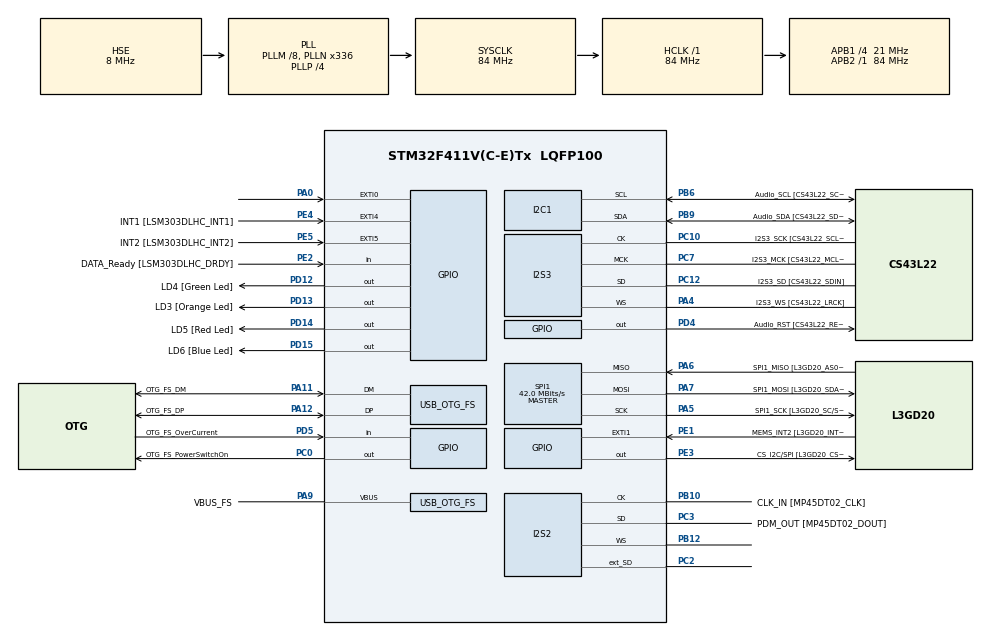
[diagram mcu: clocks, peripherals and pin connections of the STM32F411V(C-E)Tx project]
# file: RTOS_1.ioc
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I2S2.AudioFreq=I2S_AUDIOFREQ_96K
I2S2.ErrorAudioFreq=0.15 %
I2S2.FullDuplexMode=I2S_FULLDUPLEXMODE_ENABLE
I2S2.Instance=SPI$Index
I2S2.RealAudioFreq=96.153 KHz
I2S2.VirtualMode=I2S_MODE_MASTER
I2S3.AudioFreq=I2S_AUDIOFREQ_96K
I2S3.ErrorAudioFreq=-6.99 %
I2S3.FullDuplexMode=I2S_FULLDUPLEXMODE_DISABLE
I2S3.Instance=SPI$Index
I2S3.RealAudioFreq=89.285 KHz
I2S3.VirtualMode=I2S_MODE_MASTER
Mcu.Family=STM32F4
Mcu.Name=STM32F411V(C-E)Tx
Mcu.Package=LQFP100
NVIC.OTG_FS_IRQn=true\:0\:0\:false\:false\:true\:true\:true\:true
NVIC.PriorityGroup=NVIC_PRIORITYGROUP_4
NVIC.TIM1_BRK_TIM9_IRQn=true\:0\:0\:false\:false\:true\:false\:true\:true
NVIC.TimeBase=TIM1_BRK_TIM9_IRQn
NVIC.TimeBaseIP=TIM9
PA0-WKUP.GPIO_ModeDefaultEXTI=GPIO_MODE_EVT_RISING
PA0-WKUP.Signal=GPXTI0
PA10.GPIO_Label=OTG_FS_ID
PA10.Signal=USB_OTG_FS_ID
PA11.GPIO_Label=OTG_FS_DM
PA11.Mode=Host_Only
PA11.Signal=USB_OTG_FS_DM
PA12.GPIO_Label=OTG_FS_DP
PA12.Mode=Host_Only
PA12.Signal=USB_OTG_FS_DP
PA13.GPIO_Label=SWDIO
PA13.Mode=Serial_Wire
PA13.Signal=SYS_JTMS-SWDIO
PA14.GPIO_Label=SWCLK
PA14.Mode=Serial_Wire
PA14.Signal=SYS_JTCK-SWCLK
PA4.GPIO_Label=I2S3_WS [CS43L22_LRCK]
PA4.GPIO_Mode=GPIO_MODE_AF_PP
PA4.GPIO_PuPd=GPIO_NOPULL
PA4.GPIO_Speed=GPIO_SPEED_FREQ_LOW
PA4.Mode=Half_Duplex_Master
PA4.Signal=I2S3_WS
PA5.GPIO_Label=SPI1_SCK [L3GD20_SC/SPC]
PA5.Mode=Full_Duplex_Master
PA5.Signal=SPI1_SCK
PA6.GPIO_Label=SPI1_MISO [L3GD20_AS0/SDO]
PA6.Mode=Full_Duplex_Master
PA6.Signal=SPI1_MISO
PA7.GPIO_Label=SPI1_MOSI [L3GD20_SDA/SDI/SDO]
PA7.Mode=Full_Duplex_Master
PA7.Signal=SPI1_MOSI
PA9.GPIO_Label=VBUS_FS
PA9.Mode=Activate_VBUS
PA9.Signal=USB_OTG_FS_VBUS
PB10.GPIO_Label=CLK_IN [MP45DT02_CLK]
PB10.Mode=Full_Duplex_Master
PB10.Signal=I2S2_CK
PB12.Mode=Full_Duplex_Master
PB12.Signal=I2S2_WS
PB3.GPIO_Label=SWO
PB3.Signal=SYS_JTDO-SWO
PB6.GPIO_Label=Audio_SCL [CS43L22_SCL]
PB6.GPIO_Mode=GPIO_MODE_AF_OD
PB6.GPIO_Pu=GPIO_PULLUP
PB6.GPIO_PuPd=GPIO_NOPULL
PB6.GPIO_Speed=GPIO_SPEED_FREQ_LOW
PB6.Mode=I2C
PB6.Signal=I2C1_SCL
PB9.GPIO_Label=Audio_SDA [CS43L22_SDA]
PB9.GPIO_Mode=GPIO_MODE_AF_OD
PB9.GPIO_Pu=GPIO_PULLUP
PB9.GPIO_PuPd=GPIO_NOPULL
PB9.GPIO_Speed=GPIO_SPEED_FREQ_LOW
PB9.Mode=I2C
PB9.Signal=I2C1_SDA
PC0.GPIO_Label=OTG_FS_PowerSwitchOn
PC0.PinState=GPIO_PIN_SET
PC0.Signal=GPIO_Output
PC10.GPIO_Label=I2S3_SCK [CS43L22_SCLK]
PC10.GPIO_Mode=GPIO_MODE_AF_PP
PC10.GPIO_PuPd=GPIO_NOPULL
PC10.GPIO_Speed=GPIO_SPEED_FREQ_LOW
PC10.Mode=Half_Duplex_Master
PC10.Signal=I2S3_CK
PC12.GPIO_Label=I2S3_SD [CS43L22_SDIN]
PC12.GPIO_Mode=GPIO_MODE_AF_PP
PC12.GPIO_PuPd=GPIO_NOPULL
PC12.GPIO_Speed=GPIO_SPEED_FREQ_LOW
PC12.Mode=Half_Duplex_Master
PC12.Signal=I2S3_SD
PC14-OSC32_IN.GPIO_Label=PC14-OSC32_IN
PC14-OSC32_IN.Mode=LSE-External-Oscillator
PC14-OSC32_IN.Signal=RCC_OSC32_IN
PC15-OSC32_OUT.GPIO_Label=PC15-OSC32_OUT
PC15-OSC32_OUT.Mode=LSE-External-Oscillator
PC15-OSC32_OUT.Signal=RCC_OSC32_OUT
PC2.Mode=Full_Duplex_Master
PC2.Signal=I2S2_ext_SD
PC3.GPIO_Label=PDM_OUT [MP45DT02_DOUT]
PC3.Mode=Full_Duplex_Master
PC3.Signal=I2S2_SD
PC7.GPIO_Label=I2S3_MCK [CS43L22_MCLK]
PC7.GPIO_Mode=GPIO_MODE_AF_PP
PC7.GPIO_PuPd=GPIO_NOPULL
PC7.GPIO_Speed=GPIO_SPEED_FREQ_LOW
PC7.Mode=Master_Clock_Activated
PC7.Signal=I2S3_MCK
PD12.GPIO_Label=LD4 [Green Led]
PD12.GPIO_PuPd=GPIO_NOPULL
PD12.GPIO_Speed=GPIO_SPEED_FREQ_LOW
PD12.Signal=GPIO_Output
PD13.GPIO_Label=LD3 [Orange Led]
PD13.GPIO_PuPd=GPIO_NOPULL
PD13.GPIO_Speed=GPIO_SPEED_FREQ_LOW
PD13.Signal=GPIO_Output
PD14.GPIO_Label=LD5 [Red Led]
PD14.GPIO_PuPd=GPIO_NOPULL
PD14.GPIO_Speed=GPIO_SPEED_FREQ_LOW
PD14.Signal=GPIO_Output
PD15.GPIO_Label=LD6 [Blue Led]
PD15.GPIO_PuPd=GPIO_NOPULL
PD15.GPIO_Speed=GPIO_SPEED_FREQ_LOW
PD15.Signal=GPIO_Output
PD4.GPIO_Label=Audio_RST [CS43L22_RESET]
PD4.Signal=GPIO_Output
PD5.GPIO_Label=OTG_FS_OverCurrent
PD5.Signal=GPIO_Input
PE1.GPIO_Label=MEMS_INT2 [L3GD20_INT2]
PE1.GPIO_ModeDefaultEXTI=GPIO_MODE_EVT_RISING
PE1.Signal=GPXTI1
PE2.GPIO_Label=DATA_Ready [LSM303DLHC_DRDY]
PE2.Signal=GPIO_Input
PE3.GPIO_Label=CS_I2C/SPI [L3GD20_CS_I2C/SPI]
PE3.Signal=GPIO_Output
PE4.GPIO_Label=INT1 [LSM303DLHC_INT1]
PE4.GPIO_ModeDefaultEXTI=GPIO_MODE_EVT_RISING
PE4.Signal=GPXTI4
PE5.GPIO_Label=INT2 [LSM303DLHC_INT2]
PE5.GPIO_ModeDefaultEXTI=GPIO_MODE_EVT_RISING
PE5.Signal=GPXTI5
PH0\ -\ OSC_IN.GPIO_Label=PH0-OSC_IN
PH0\ -\ OSC_IN.Mode=HSE-External-Oscillator
PH0\ -\ OSC_IN.Signal=RCC_OSC_IN
PH1\ -\ OSC_OUT.GPIO_Label=PH1-OSC_OUT
PH1\ -\ OSC_OUT.Mode=HSE-External-Oscillator
PH1\ -\ OSC_OUT.Signal=RCC_OSC_OUT
ProjectManager.HeapSize=0x200
ProjectManager.StackSize=0x400
ProjectManager.TargetToolchain=STM32CubeIDE
RCC.48MHZClocksFreq_Value=48000000
RCC.AHBFreq_Value=84000000
RCC.APB1CLKDivider=RCC_HCLK_DIV4
RCC.APB1Freq_Value=21000000
RCC.APB1TimFreq_Value=42000000
RCC.APB2Freq_Value=84000000
RCC.APB2TimFreq_Value=84000000
RCC.CortexFreq_Value=84000000
RCC.HCLKFreq_Value=84000000
RCC.HSE_VALUE=8000000
RCC.HSI_VALUE=16000000
RCC.PLLI2SM=5
RCC.PLLI2SN=200
RCC.PLLM=8
RCC.PLLN=336
RCC.PLLP=RCC_PLLP_DIV4
RCC.PLLQ=7
RCC.SYSCLKFreq_VALUE=84000000
RCC.SYSCLKSource=RCC_SYSCLKSOURCE_PLLCLK
RCC.VCOOutputFreq_Value=336000000
SPI1.BaudRatePrescaler=SPI_BAUDRATEPRESCALER_2
SPI1.CalculateBaudRate=42.0 MBits/s
SPI1.Direction=SPI_DIRECTION_2LINES
SPI1.Mode=SPI_MODE_MASTER
SPI1.VirtualType=VM_MASTER
USB_HOST.BSP.number=1
USB_HOST.USBH_HandleTypeDef=hUsbHostFS
USB_HOST.VirtualModeFS=Cdc
USB_HOST0.BSP.STBoard=false
USB_HOST0.BSP.api=Unknown
USB_HOST0.BSP.instance=PC0
USB_HOST0.BSP.ip=GPIO
USB_HOST0.BSP.mode=Output
USB_HOST0.BSP.name=Drive_VBUS_FS
USB_HOST0.BSP.solution=PC0
USB_OTG_FS.VirtualMode=Host_Only
USB_OTG_FS.phy_itface=HCD_PHY_EMBEDDED
VP_SYS_VS_tim9.Mode=TIM9
VP_USB_HOST_VS_USB_HOST_CDC_FS.Mode=CDC_FS
board=STM32F411E-DISCO

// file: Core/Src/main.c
/* USER CODE BEGIN Header */
/**
  ******************************************************************************
  * @file           : main.c
  * @brief          : Main program body
  ******************************************************************************
  * @attention
  *
  * Copyright (c) 2023 STMicroelectronics.
  * All rights reserved.
  *
  * This software is licensed under terms that can be found in the LICENSE file
  * in the root directory of this software component.
  * If no LICENSE file comes with this software, it is provided AS-IS.
  *
  ******************************************************************************
  */
/* USER CODE END Header */
#include "main.h"
#include "usb_host.h"

/* USER CODE BEGIN Includes */
#include <FreeRTOS.h>
#include <task.h>
#include <stdio.h>
/* USER CODE END Includes */

/* USER CODE BEGIN PD */
static void task_green_handler(void* parm);
static void task_red_handler(void* parm);
static void task_blue_handler(void* parm);
/* USER CODE END PD */

/* USER CODE BEGIN PM */
#define DWT_CTRL		(*(volatile uint32_t*)0xE0001000)
/* USER CODE END PM */

I2C_HandleTypeDef hi2c1;

I2S_HandleTypeDef hi2s2;
I2S_HandleTypeDef hi2s3;

SPI_HandleTypeDef hspi1;

void SystemClock_Config(void);
void PeriphCommonClock_Config(void);
static void MX_GPIO_Init(void);
static void MX_I2C1_Init(void);
static void MX_I2S2_Init(void);
static void MX_I2S3_Init(void);
static void MX_SPI1_Init(void);
void MX_USB_HOST_Process(void);

int main(void)
{
  /* USER CODE BEGIN 1 */
	TaskHandle_t task_h_green_led, task_h_red_led, task_h_blue_led; // Task handle declaration for 2 task
	BaseType_t status; // Task creation status
  /* USER CODE END 1 */

  /* MCU Configuration--------------------------------------------------------*/

  /* Reset of all peripherals, Initializes the Flash interface and the Systick. */
  HAL_Init();

  /* Configure the system clock */
  SystemClock_Config();

/* Configure the peripherals common clocks */
  PeriphCommonClock_Config();

  /* Initialize all configured peripherals */
  MX_GPIO_Init();
  MX_I2C1_Init();
  MX_I2S2_Init();
  MX_I2S3_Init();
  MX_SPI1_Init();
  MX_USB_HOST_Init();
  /* USER CODE BEGIN 2 */

  // DWT cycle counter enable
  DWT_CTRL |= (1<<0);

  SEGGER_SYSVIEW_Conf();
  SEGGER_SYSVIEW_Start(); // strat the segger trace

  status = xTaskCreate(task_green_handler, "Gr", 200, NULL , 2, &task_h_green_led);
    configASSERT(status == pdPASS); // Assert here if the task creation has an error

  status = xTaskCreate(task_blue_handler, "Bl", 200, NULL, 2, &task_h_blue_led);
    configASSERT(status == pdPASS);

  status = xTaskCreate(task_red_handler, "Rd", 200, NULL, 2, &task_h_red_led);
    configASSERT(status == pdPASS);

    vTaskStartScheduler();
  /* USER CODE END 2 */

  /* Infinite loop */
  while (1)
  {
    MX_USB_HOST_Process();

  }
}

void SystemClock_Config(void)
{
  RCC_OscInitTypeDef RCC_OscInitStruct = {0};
  RCC_ClkInitTypeDef RCC_ClkInitStruct = {0};

  /** Configure the main internal regulator output voltage
  */
  __HAL_RCC_PWR_CLK_ENABLE();
  __HAL_PWR_VOLTAGESCALING_CONFIG(PWR_REGULATOR_VOLTAGE_SCALE1);

  /** Initializes the RCC Oscillators according to the specified parameters
  * in the RCC_OscInitTypeDef structure.
  */
  RCC_OscInitStruct.OscillatorType = RCC_OSCILLATORTYPE_HSE;
  RCC_OscInitStruct.HSEState = RCC_HSE_ON;
  RCC_OscInitStruct.PLL.PLLState = RCC_PLL_ON;
  RCC_OscInitStruct.PLL.PLLSource = RCC_PLLSOURCE_HSE;
  RCC_OscInitStruct.PLL.PLLM = 8;
  RCC_OscInitStruct.PLL.PLLN = 336;
  RCC_OscInitStruct.PLL.PLLP = RCC_PLLP_DIV4;
  RCC_OscInitStruct.PLL.PLLQ = 7;
  if (HAL_RCC_OscConfig(&RCC_OscInitStruct) != HAL_OK)
  {
    Error_Handler();
  }

  /** Initializes the CPU, AHB and APB buses clocks
  */
  RCC_ClkInitStruct.ClockType = RCC_CLOCKTYPE_HCLK|RCC_CLOCKTYPE_SYSCLK
                              |RCC_CLOCKTYPE_PCLK1|RCC_CLOCKTYPE_PCLK2;
  RCC_ClkInitStruct.SYSCLKSource = RCC_SYSCLKSOURCE_PLLCLK;
  RCC_ClkInitStruct.AHBCLKDivider = RCC_SYSCLK_DIV1;
  RCC_ClkInitStruct.APB1CLKDivider = RCC_HCLK_DIV4;
  RCC_ClkInitStruct.APB2CLKDivider = RCC_HCLK_DIV1;

  if (HAL_RCC_ClockConfig(&RCC_ClkInitStruct, FLASH_LATENCY_2) != HAL_OK)
  {
    Error_Handler();
  }
}

void PeriphCommonClock_Config(void)
{
  RCC_PeriphCLKInitTypeDef PeriphClkInitStruct = {0};

  /** Initializes the peripherals clock
  */
  PeriphClkInitStruct.PeriphClockSelection = RCC_PERIPHCLK_I2S;
  PeriphClkInitStruct.PLLI2S.PLLI2SN = 200;
  PeriphClkInitStruct.PLLI2S.PLLI2SM = 5;
  PeriphClkInitStruct.PLLI2S.PLLI2SR = 2;
  if (HAL_RCCEx_PeriphCLKConfig(&PeriphClkInitStruct) != HAL_OK)
  {
    Error_Handler();
  }
}

static void MX_I2C1_Init(void)
{

  hi2c1.Instance = I2C1;
  hi2c1.Init.ClockSpeed = 100000;
  hi2c1.Init.DutyCycle = I2C_DUTYCYCLE_2;
  hi2c1.Init.OwnAddress1 = 0;
  hi2c1.Init.AddressingMode = I2C_ADDRESSINGMODE_7BIT;
  hi2c1.Init.DualAddressMode = I2C_DUALADDRESS_DISABLE;
  hi2c1.Init.OwnAddress2 = 0;
  hi2c1.Init.GeneralCallMode = I2C_GENERALCALL_DISABLE;
  hi2c1.Init.NoStretchMode = I2C_NOSTRETCH_DISABLE;
  if (HAL_I2C_Init(&hi2c1) != HAL_OK)
  {
    Error_Handler();
  }

}

static void MX_I2S2_Init(void)
{

  hi2s2.Instance = SPI2;
  hi2s2.Init.Mode = I2S_MODE_MASTER_TX;
  hi2s2.Init.Standard = I2S_STANDARD_PHILIPS;
  hi2s2.Init.DataFormat = I2S_DATAFORMAT_16B;
  hi2s2.Init.MCLKOutput = I2S_MCLKOUTPUT_DISABLE;
  hi2s2.Init.AudioFreq = I2S_AUDIOFREQ_96K;
  hi2s2.Init.CPOL = I2S_CPOL_LOW;
  hi2s2.Init.ClockSource = I2S_CLOCK_PLL;
  hi2s2.Init.FullDuplexMode = I2S_FULLDUPLEXMODE_ENABLE;
  if (HAL_I2S_Init(&hi2s2) != HAL_OK)
  {
    Error_Handler();
  }

}

static void MX_I2S3_Init(void)
{

  hi2s3.Instance = SPI3;
  hi2s3.Init.Mode = I2S_MODE_MASTER_TX;
  hi2s3.Init.Standard = I2S_STANDARD_PHILIPS;
  hi2s3.Init.DataFormat = I2S_DATAFORMAT_16B;
  hi2s3.Init.MCLKOutput = I2S_MCLKOUTPUT_ENABLE;
  hi2s3.Init.AudioFreq = I2S_AUDIOFREQ_96K;
  hi2s3.Init.CPOL = I2S_CPOL_LOW;
  hi2s3.Init.ClockSource = I2S_CLOCK_PLL;
  hi2s3.Init.FullDuplexMode = I2S_FULLDUPLEXMODE_DISABLE;
  if (HAL_I2S_Init(&hi2s3) != HAL_OK)
  {
    Error_Handler();
  }

}

static void MX_SPI1_Init(void)
{

  /* SPI1 parameter configuration*/
  hspi1.Instance = SPI1;
  hspi1.Init.Mode = SPI_MODE_MASTER;
  hspi1.Init.Direction = SPI_DIRECTION_2LINES;
  hspi1.Init.DataSize = SPI_DATASIZE_8BIT;
  hspi1.Init.CLKPolarity = SPI_POLARITY_LOW;
  hspi1.Init.CLKPhase = SPI_PHASE_1EDGE;
  hspi1.Init.NSS = SPI_NSS_SOFT;
  hspi1.Init.BaudRatePrescaler = SPI_BAUDRATEPRESCALER_2;
  hspi1.Init.FirstBit = SPI_FIRSTBIT_MSB;
  hspi1.Init.TIMode = SPI_TIMODE_DISABLE;
  hspi1.Init.CRCCalculation = SPI_CRCCALCULATION_DISABLE;
  hspi1.Init.CRCPolynomial = 10;
  if (HAL_SPI_Init(&hspi1) != HAL_OK)
  {
    Error_Handler();
  }

}

static void MX_GPIO_Init(void)
{
  GPIO_InitTypeDef GPIO_InitStruct = {0};

  /* GPIO Ports Clock Enable */
  __HAL_RCC_GPIOE_CLK_ENABLE();
  __HAL_RCC_GPIOC_CLK_ENABLE();
  __HAL_RCC_GPIOH_CLK_ENABLE();
  __HAL_RCC_GPIOA_CLK_ENABLE();
  __HAL_RCC_GPIOB_CLK_ENABLE();
  __HAL_RCC_GPIOD_CLK_ENABLE();

  /*Configure GPIO pin Output Level */
  HAL_GPIO_WritePin(CS_I2C_SPI_GPIO_Port, CS_I2C_SPI_Pin, GPIO_PIN_RESET);

  /*Configure GPIO pin Output Level */
  HAL_GPIO_WritePin(OTG_FS_PowerSwitchOn_GPIO_Port, OTG_FS_PowerSwitchOn_Pin, GPIO_PIN_SET);

  /*Configure GPIO pin Output Level */
  HAL_GPIO_WritePin(GPIOD, LD4_Pin|LD3_Pin|LD5_Pin|LD6_Pin
                          |Audio_RST_Pin, GPIO_PIN_RESET);

  /*Configure GPIO pin : DATA_Ready_Pin */
  GPIO_InitStruct.Pin = DATA_Ready_Pin;
  GPIO_InitStruct.Mode = GPIO_MODE_INPUT;
  GPIO_InitStruct.Pull = GPIO_NOPULL;
  HAL_GPIO_Init(DATA_Ready_GPIO_Port, &GPIO_InitStruct);

  /*Configure GPIO pin : CS_I2C_SPI_Pin */
  GPIO_InitStruct.Pin = CS_I2C_SPI_Pin;
  GPIO_InitStruct.Mode = GPIO_MODE_OUTPUT_PP;
  GPIO_InitStruct.Pull = GPIO_NOPULL;
  GPIO_InitStruct.Speed = GPIO_SPEED_FREQ_LOW;
  HAL_GPIO_Init(CS_I2C_SPI_GPIO_Port, &GPIO_InitStruct);

  /*Configure GPIO pins : INT1_Pin INT2_Pin MEMS_INT2_Pin */
  GPIO_InitStruct.Pin = INT1_Pin|INT2_Pin|MEMS_INT2_Pin;
  GPIO_InitStruct.Mode = GPIO_MODE_EVT_RISING;
  GPIO_InitStruct.Pull = GPIO_NOPULL;
  HAL_GPIO_Init(GPIOE, &GPIO_InitStruct);

  /*Configure GPIO pin : OTG_FS_PowerSwitchOn_Pin */
  GPIO_InitStruct.Pin = OTG_FS_PowerSwitchOn_Pin;
  GPIO_InitStruct.Mode = GPIO_MODE_OUTPUT_PP;
  GPIO_InitStruct.Pull = GPIO_NOPULL;
  GPIO_InitStruct.Speed = GPIO_SPEED_FREQ_LOW;
  HAL_GPIO_Init(OTG_FS_PowerSwitchOn_GPIO_Port, &GPIO_InitStruct);

  /*Configure GPIO pin : PA0 */
  GPIO_InitStruct.Pin = GPIO_PIN_0;
  GPIO_InitStruct.Mode = GPIO_MODE_EVT_RISING;
  GPIO_InitStruct.Pull = GPIO_NOPULL;
  HAL_GPIO_Init(GPIOA, &GPIO_InitStruct);

  /*Configure GPIO pins : LD4_Pin LD3_Pin LD5_Pin LD6_Pin
                           Audio_RST_Pin */
  GPIO_InitStruct.Pin = LD4_Pin|LD3_Pin|LD5_Pin|LD6_Pin
                          |Audio_RST_Pin;
  GPIO_InitStruct.Mode = GPIO_MODE_OUTPUT_PP;
  GPIO_InitStruct.Pull = GPIO_NOPULL;
  GPIO_InitStruct.Speed = GPIO_SPEED_FREQ_LOW;
  HAL_GPIO_Init(GPIOD, &GPIO_InitStruct);

  /*Configure GPIO pin : OTG_FS_OverCurrent_Pin */
  GPIO_InitStruct.Pin = OTG_FS_OverCurrent_Pin;
  GPIO_InitStruct.Mode = GPIO_MODE_INPUT;
  GPIO_InitStruct.Pull = GPIO_NOPULL;
  HAL_GPIO_Init(OTG_FS_OverCurrent_GPIO_Port, &GPIO_InitStruct);

}

/* USER CODE BEGIN 4 */
void task_green_handler(void* parm)
{
	vTaskDelay((TickType_t)1000); // blocking for sync
	while(1){
		SEGGER_SYSVIEW_PrintfTarget("G");
		HAL_GPIO_TogglePin(GPIOD, LD4_Pin);
		//vTaskDelay((TickType_t)1000);
		HAL_Delay(1000);
	}
}
void task_red_handler(void* parm)
{
	vTaskDelay((TickType_t)800);
	while(1){
		SEGGER_SYSVIEW_PrintfTarget("R");
		HAL_GPIO_TogglePin(GPIOD, LD5_Pin);
		//vTaskDelay((TickType_t)800);
		HAL_Delay(800);
	}
}
void task_blue_handler(void* parm)
{
	vTaskDelay((TickType_t)400);
	while(1){
		SEGGER_SYSVIEW_PrintfTarget("B");
		HAL_GPIO_TogglePin(GPIOD, LD6_Pin);
		//vTaskDelay((TickType_t)400);
		HAL_Delay(400);
	}
}
/* USER CODE END 4 */

void HAL_TIM_PeriodElapsedCallback(TIM_HandleTypeDef *htim)
{
  if (htim->Instance == TIM9) {
    HAL_IncTick();
  }
}

void Error_Handler(void)
{
  __disable_irq();
  while (1)
  {
  }
}
